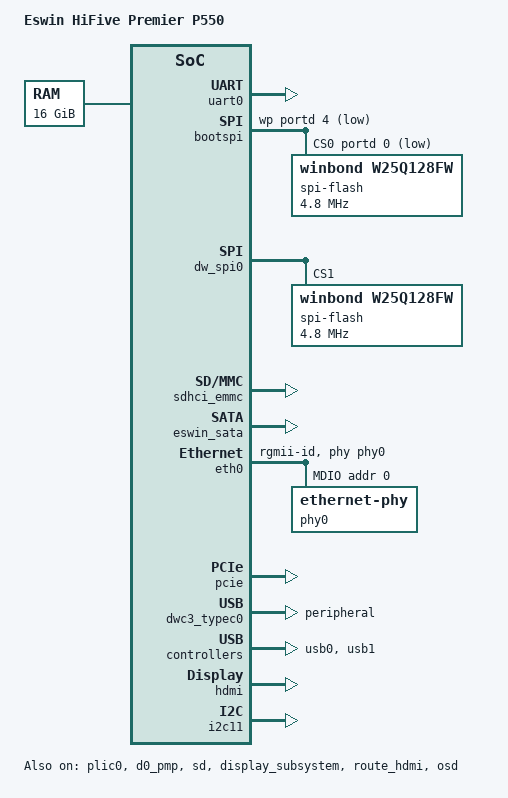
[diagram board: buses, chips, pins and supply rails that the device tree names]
// SPDX-License-Identifier: GPL-2.0
/*
 * Device Tree file for Eswin EIC7700 SoC.
 *
 * Copyright 2024, Beijing ESWIN Computing Technology Co., Ltd.. All rights reserved.
 * SPDX-License-Identifier: GPL-2.0
 *
 * This program is free software: you can redistribute it and/or modify
 * it under the terms of the GNU General Public License as published by
 * the Free Software Foundation, version 2.
 *
 * This program is distributed in the hope that it will be useful,
 * but WITHOUT ANY WARRANTY; without even the implied warranty of
 * MERCHANTABILITY or FITNESS FOR A PARTICULAR PURPOSE.  See the
 * GNU General Public License for more details.
 *
 * You should have received a copy of the GNU General Public License
 * along with this program.  If not, see <https://www.gnu.org/licenses/>.
 */

#include <dt-bindings/gpio/gpio.h>
#include <dt-bindings/soc/eswin-pmp.h>
#include "eic770x.dtsi"
// #include "dt-bindings/media/eswin_mipi_dsi.h"
// #include "linux/media-bus-format.h"
/ {
	#address-cells = <2>;
	#size-cells = <2>;
	model = "Eswin HiFive Premier P550";


	aliases {
		serial0 = &uart0;
		i2c0 = &i2c0;
		i2c1 = &i2c1;
		i2c2 = &i2c2;
		i2c3 = &i2c3;
		i2c4 = &i2c4;
		i2c5 = &i2c5;
		i2c6 = &i2c6;
		i2c7 = &i2c7;
		i2c8 = &i2c8;
		i2c9 = &i2c9;
		i2c11 = &i2c11;
		i2c12 = &i2c12;
		gpio0 = &gpio0;
		spi0 = &bootspi;
		spi1 = &dw_spi0;
	};

	chosen {
		stdout-path = "serial0";
	};

	memory@80000000 {
		device_type = "memory";
		reg = <0x0 0x80000000 0x4 0x00000000>;
	};
	soc {
		#address-cells = <2>;
		#size-cells = <2>;
		compatible = "SiFive,FU800-soc", "fu800-soc", "sifive-soc", "simple-bus";
		ranges;
	};
};
&cpu0 {
	status = "okay";
};
&cpu1 {
	status = "okay";
};
&cpu2 {
	status = "okay";
};
&cpu3 {
	status = "okay";
};
&plic0{
	status = "okay";
};
&d0_mbox {
	status = "okay";
};
&d0_mbox_srvc {
	status = "okay";
};
&d0_pmp {
	status = "okay";
};
&uart0 {
	status = "okay";
};

&bootspi {
	status = "okay";
	cs-gpios = <&portd 0 GPIO_ACTIVE_LOW>;
	wp-gpios = <&portd 4 GPIO_ACTIVE_LOW>;
	spi-flash@0 {
		reg = <0>;
		compatible = "winbond,w25q128fw",
			"jedec,spi-nor";
		spi-max-frequency = <4800000>;
	};
};
&dw_spi0 {
	status = "okay";
	spi-flash@1 {
		reg = <1>;
		compatible = "winbond,w25q128fw",
			"jedec,spi-nor";
		spi-max-frequency = <4800000>;
	};
};
&sd {
	status = "okay";
	delay_code = <0x34>;
	drive-impedance-ohm = <33>;
	enable-cmd-pullup;
	enable-data-pullup;
};

&sdhci_emmc {
	status = "okay";
	delay_code = <0x17>;
	drive-impedance-ohm = <50>;
	enable-cmd-pullup;
	enable-data-pullup;
};

&eswin_sata {
	status = "okay";
};

&eth0 {
	status = "okay";
	phy-mode = "rgmii-id";
	max-speed = <1000>;
	phy-handle = <&phy0>;
	pinctrl-names = "default";
	pinctrl-0 = <&pinctrl_gpio106_default>;
	rst-gpios = <&portd 10 GPIO_ACTIVE_LOW>;

	mdio0 {
		#address-cells = <1>;
		#size-cells = <0>;
		phy0: ethernet-phy@1 {
			reg = <0>;
		};
	};
};

&eth1 {
	status = "disabled";
	phy-mode = "rgmii-id";
	max-speed = <1000>;
	phy-handle = <&phy1>;
	pinctrl-names = "default";
	pinctrl-0 = <&pinctrl_gpio111_default>;
	rst-gpios = <&portd 15 GPIO_ACTIVE_LOW>;

	mdio1 {
		#address-cells = <1>;
		#size-cells = <0>;
		phy1: ethernet-phy@1 {
			reg = <0>;
		};
	};
};

&pcie {
	status = "okay";
};
&display_logo {
	status = "disabled";
};
&dwc3_typec0 {
		status = "okay";
		dr_mode = "peripheral";
		maximum-speed = "high-speed";
};
&usb0 {
	status = "okay";
};
&usb1 {
	status = "okay";
};
&hdmi {
	status = "okay";
};
&display_subsystem {
	status = "okay";
};
&route_hdmi {
	status = "okay";
};
&osd {
	status = "okay";
};
&i2c0 {
	status = "disabled";
};
&i2c2 {
	status = "disabled";
};
&i2c3 {
	status = "disabled";
};
/* eeprom */
&i2c11 {
	status = "okay";
};

/*
GPIO USED ON CarrierBoard:
	gpio0   : FP Audio Jack Sense(I), active low
	gpio5   : TYPE C cc logic interrupt(I), active low
	gpio11  : BT WAKE HOST(I), active low
	gpio12  : PCIE present(I), active low
	gpio14  : DSI FPC CON CTRL(J10&J11)
	gpio15  : Wlan wake host(I), active low
	gpio28  : RP audio jack sense(I), active low
	gpio29  : EMMC active led ctrl(O)

	gpio43  : USB3.2 Gen1 hub Resetn(O), active low
	gpio71  : CSI fpc con ctrl(O)
	gpio74  : CSI fpc con ctrl(O)
	gpio77  : CSI fpc con ctrl(O)
	gpio76  : HOST WAKE BT(O), active low
	gpio79  : WLAN POWER ON(O), active high
	gpio80  : CSI fpc con ctrl(O)
	gpio82  : DSI FPC CON CTRL(J10)
	gpio85  : DSI FPC CON CTRL(J11)
	gpio84  : GPIO LED CTRL(O), active high

 GPIO USED ON SOM:
	gpio18  : HOST WAKE WLAN(O), active low
	gpio19  : HOST WAKE BT(O), active low
	gpio20  : WLAN WAKE HOST(I), active low
	gpio21  : BT WAKE HOST(I), active low
	gpio106 : gphy0 resern(O), active low
	gpio111 : gphy1 resern(O), active low

*/

&gpio0 {
	status = "okay";
};
